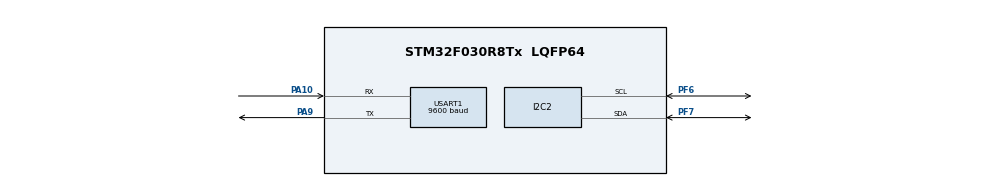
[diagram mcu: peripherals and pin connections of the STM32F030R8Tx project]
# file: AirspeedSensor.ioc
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I2C2.NoStretchMode=I2C_NOSTRETCH_ENABLE
Mcu.Family=STM32F0
Mcu.Name=STM32F030R8Tx
Mcu.Package=LQFP64
PA10.Mode=Asynchronous
PA10.Signal=USART1_RX
PA9.Mode=Asynchronous
PA9.Signal=USART1_TX
PF6.Mode=I2C
PF6.Signal=I2C2_SCL
PF7.Mode=I2C
PF7.Signal=I2C2_SDA
ProjectManager.HeapSize=0x200
ProjectManager.StackSize=0x400
ProjectManager.TargetToolchain=Makefile
USART1.BaudRate=9600
USART1.VirtualMode-Asynchronous=VM_ASYNC
board=custom

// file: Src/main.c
/* USER CODE BEGIN Header */
/**
  ******************************************************************************
  * @file           : main.c
  * @brief          : Main program body
  ******************************************************************************
  * @attention
  *
  * <h2><center>&copy; Copyright (c) 2020 STMicroelectronics.
  * All rights reserved.</center></h2>
  *
  * This software component is licensed by ST under BSD 3-Clause license,
  * the "License"; You may not use this file except in compliance with the
  * License. You may obtain a copy of the License at:
  *                        opensource.org/licenses/BSD-3-Clause
  *
  ******************************************************************************
  */
/* USER CODE END Header */

#include "main.h"

/* USER CODE BEGIN Includes */
#include <stdio.h>
#include <string.h>

/* USER CODE END Includes */

I2C_HandleTypeDef hi2c2;

UART_HandleTypeDef huart1;

void SystemClock_Config(void);
static void MX_GPIO_Init(void);
static void MX_USART1_UART_Init(void);
static void MX_I2C2_Init(void);

int main(void)
{

  /* MCU Configuration--------------------------------------------------------*/

  /* Reset of all peripherals, Initializes the Flash interface and the Systick. */
  HAL_Init();

  /* Configure the system clock */
  SystemClock_Config();

  /* Initialize all configured peripherals */
  MX_GPIO_Init();
  MX_USART1_UART_Init();
  MX_I2C2_Init();
  /* USER CODE BEGIN 2 */

  const short unsigned int BUFFER_SIZE = 64;
  const uint8_t address = 0x43;
  uint8_t data[2] = {0x36,0x2F};

  char buffer[BUFFER_SIZE];
  uint8_t dataBuffer[BUFFER_SIZE];
  uint8_t errorTX = 0;
  uint8_t errorRX = 0;
  uint8_t count =0;

  /* USER CODE END 2 */

  /* Infinite loop */
  while (1)
  {

    /* USER CODE BEGIN 3 */
    // error = HAL_I2C_Master_Transmit(&hi2c2,address, data, 2, 1000 );

    // for (uint16_t i = 0; i < 128; i++){
    //   error = HAL_I2C_IsDeviceReady(&hi2c2, (uint8_t)i, 10, 1000);
    //   error = HAL_I2C_GetError(&hi2c2);
    //   // HAL_Delay(1000);
    //   if(error) {
    //     sprintf(buffer,"The error code is: %d , address: %x \r\n", error, i);
    //     HAL_UART_Transmit(&huart1, (uint8_t*)buffer, strlen(buffer),1000);
    //   }
    //   else {
    //     sprintf(buffer,"No errors, id %x \r\n", i);
    //     HAL_UART_Transmit(&huart1, (uint8_t*)buffer, strlen(buffer),1000);
    //     }
    //   }
    // count++;

    HAL_I2C_Master_Transmit(&hi2c2,address, data, sizeof(data)/sizeof(uint8_t), 1000 );
    errorTX = HAL_I2C_GetError(&hi2c2);

    HAL_Delay(50);

    HAL_I2C_Master_Receive(&hi2c2, address, dataBuffer, 9,1000);
    errorRX = HAL_I2C_GetError(&hi2c2);

    if(!errorRX) {
      int16_t diffPressure = ( ((uint16_t)(dataBuffer[0]) << 8)) + (uint8_t)(dataBuffer[1]) ;
      double scaleFactor = ( ((uint16_t)(dataBuffer[6]) << 8)) + (uint8_t)(dataBuffer[7]) ;
      double diffPressurePasc = ((double)diffPressure) / scaleFactor;

      sprintf(buffer,"Differential Pressure: %d \r\n",(int16_t)(diffPressurePasc*1000) );
      HAL_UART_Transmit(&huart1, buffer, strlen(buffer),1000);
    }

  }
  /* USER CODE END 3 */
}

void SystemClock_Config(void)
{
  RCC_OscInitTypeDef RCC_OscInitStruct = {0};
  RCC_ClkInitTypeDef RCC_ClkInitStruct = {0};
  RCC_PeriphCLKInitTypeDef PeriphClkInit = {0};

  /** Initializes the CPU, AHB and APB busses clocks
  */
  RCC_OscInitStruct.OscillatorType = RCC_OSCILLATORTYPE_HSI;
  RCC_OscInitStruct.HSIState = RCC_HSI_ON;
  RCC_OscInitStruct.HSICalibrationValue = RCC_HSICALIBRATION_DEFAULT;
  RCC_OscInitStruct.PLL.PLLState = RCC_PLL_NONE;
  if (HAL_RCC_OscConfig(&RCC_OscInitStruct) != HAL_OK)
  {
    Error_Handler();
  }
  /** Initializes the CPU, AHB and APB busses clocks
  */
  RCC_ClkInitStruct.ClockType = RCC_CLOCKTYPE_HCLK|RCC_CLOCKTYPE_SYSCLK
                              |RCC_CLOCKTYPE_PCLK1;
  RCC_ClkInitStruct.SYSCLKSource = RCC_SYSCLKSOURCE_HSI;
  RCC_ClkInitStruct.AHBCLKDivider = RCC_SYSCLK_DIV1;
  RCC_ClkInitStruct.APB1CLKDivider = RCC_HCLK_DIV1;

  if (HAL_RCC_ClockConfig(&RCC_ClkInitStruct, FLASH_LATENCY_0) != HAL_OK)
  {
    Error_Handler();
  }
  PeriphClkInit.PeriphClockSelection = RCC_PERIPHCLK_USART1;
  PeriphClkInit.Usart1ClockSelection = RCC_USART1CLKSOURCE_PCLK1;
  if (HAL_RCCEx_PeriphCLKConfig(&PeriphClkInit) != HAL_OK)
  {
    Error_Handler();
  }
}

static void MX_I2C2_Init(void)
{

  hi2c2.Instance = I2C2;
  hi2c2.Init.Timing = 0x2000090E;
  hi2c2.Init.OwnAddress1 = 0;
  hi2c2.Init.AddressingMode = I2C_ADDRESSINGMODE_7BIT;
  hi2c2.Init.DualAddressMode = I2C_DUALADDRESS_DISABLE;
  hi2c2.Init.OwnAddress2 = 0;
  hi2c2.Init.OwnAddress2Masks = I2C_OA2_NOMASK;
  hi2c2.Init.GeneralCallMode = I2C_GENERALCALL_DISABLE;
  hi2c2.Init.NoStretchMode = I2C_NOSTRETCH_ENABLE;
  if (HAL_I2C_Init(&hi2c2) != HAL_OK)
  {
    Error_Handler();
  }
  /** Configure Analogue filter
  */
  if (HAL_I2CEx_ConfigAnalogFilter(&hi2c2, I2C_ANALOGFILTER_ENABLE) != HAL_OK)
  {
    Error_Handler();
  }
  /** Configure Digital filter
  */
  if (HAL_I2CEx_ConfigDigitalFilter(&hi2c2, 0) != HAL_OK)
  {
    Error_Handler();
  }

}

static void MX_USART1_UART_Init(void)
{

  huart1.Instance = USART1;
  huart1.Init.BaudRate = 9600;
  huart1.Init.WordLength = UART_WORDLENGTH_8B;
  huart1.Init.StopBits = UART_STOPBITS_1;
  huart1.Init.Parity = UART_PARITY_NONE;
  huart1.Init.Mode = UART_MODE_TX_RX;
  huart1.Init.HwFlowCtl = UART_HWCONTROL_NONE;
  huart1.Init.OverSampling = UART_OVERSAMPLING_16;
  huart1.Init.OneBitSampling = UART_ONE_BIT_SAMPLE_DISABLE;
  huart1.AdvancedInit.AdvFeatureInit = UART_ADVFEATURE_NO_INIT;
  if (HAL_UART_Init(&huart1) != HAL_OK)
  {
    Error_Handler();
  }

}

static void MX_GPIO_Init(void)
{

  /* GPIO Ports Clock Enable */
  __HAL_RCC_GPIOA_CLK_ENABLE();
  __HAL_RCC_GPIOF_CLK_ENABLE();

}

void Error_Handler(void)
{
}

/************************ (C) COPYRIGHT STMicroelectronics *****END OF FILE****/
